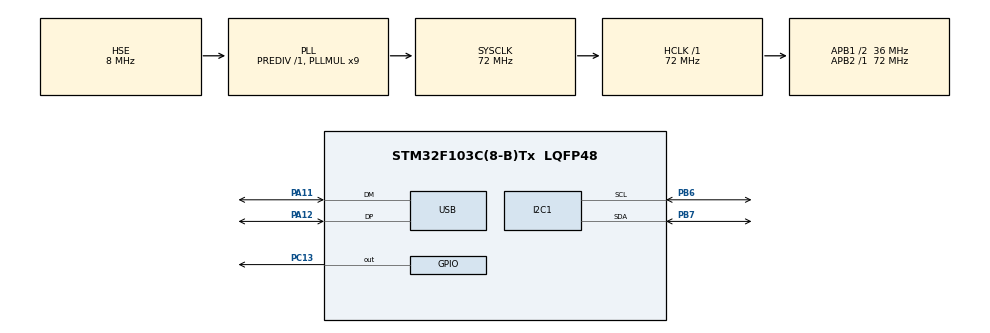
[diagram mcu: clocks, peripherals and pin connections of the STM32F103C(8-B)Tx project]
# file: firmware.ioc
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Dma.I2C1_RX.0.Direction=DMA_PERIPH_TO_MEMORY
Dma.I2C1_RX.0.Instance=DMA1_Channel7
Dma.I2C1_RX.0.MemDataAlignment=DMA_MDATAALIGN_BYTE
Dma.I2C1_RX.0.MemInc=DMA_MINC_ENABLE
Dma.I2C1_RX.0.Mode=DMA_NORMAL
Dma.I2C1_RX.0.PeriphDataAlignment=DMA_PDATAALIGN_BYTE
Dma.I2C1_RX.0.PeriphInc=DMA_PINC_DISABLE
Dma.I2C1_RX.0.Priority=DMA_PRIORITY_LOW
Dma.I2C1_TX.1.Direction=DMA_MEMORY_TO_PERIPH
Dma.I2C1_TX.1.Instance=DMA1_Channel6
Dma.I2C1_TX.1.MemDataAlignment=DMA_MDATAALIGN_BYTE
Dma.I2C1_TX.1.MemInc=DMA_MINC_ENABLE
Dma.I2C1_TX.1.Mode=DMA_NORMAL
Dma.I2C1_TX.1.PeriphDataAlignment=DMA_PDATAALIGN_BYTE
Dma.I2C1_TX.1.PeriphInc=DMA_PINC_DISABLE
Dma.I2C1_TX.1.Priority=DMA_PRIORITY_LOW
Dma.Request0=I2C1_RX
Dma.Request1=I2C1_TX
FREERTOS.BinarySemaphores01=UsbDataAvailable,Dynamic,NULL,Depleted
FREERTOS.Mutexes01=ServoMutex,Dynamic,NULL,Available;RxBufferMutex,Dynamic,NULL,Available
FREERTOS.Queues01=CommandQueue,8,RobotCommand_t,0,Dynamic,NULL,NULL
FREERTOS.Tasks01=defaultTask,24,128,StartDefaultTask,Default,NULL,Dynamic,NULL,NULL;TServoControl,40,256,StartServoControl,As weak,NULL,Dynamic,NULL,NULL;TSafetyMonitor,48,128,StartSafetyMonitor,As weak,NULL,Dynamic,NULL,NULL;TProtocolParser,24,256,StartProtocolParser,As weak,NULL,Dynamic,NULL,NULL
FREERTOS.configCHECK_FOR_STACK_OVERFLOW=1
FREERTOS.configTOTAL_HEAP_SIZE=4096
FREERTOS.configUSE_MALLOC_FAILED_HOOK=1
FREERTOS.configUSE_TRACE_FACILITY=1
I2C1.I2C_Mode=I2C_Fast
Mcu.Family=STM32F1
Mcu.Name=STM32F103C(8-B)Tx
Mcu.Package=LQFP48
NVIC.DMA1_Channel6_IRQn=true\:6\:0\:true\:false\:true\:true\:false\:true\:true
NVIC.DMA1_Channel7_IRQn=true\:6\:0\:true\:false\:true\:true\:false\:true\:true
NVIC.I2C1_ER_IRQn=true\:5\:0\:false\:false\:true\:true\:true\:true\:true
NVIC.I2C1_EV_IRQn=true\:5\:0\:false\:false\:true\:true\:true\:true\:true
NVIC.PriorityGroup=NVIC_PRIORITYGROUP_4
NVIC.TIM2_IRQn=true\:15\:0\:false\:false\:true\:false\:false\:true\:true
NVIC.TimeBase=TIM2_IRQn
NVIC.TimeBaseIP=TIM2
NVIC.USB_LP_CAN1_RX0_IRQn=true\:6\:0\:true\:false\:true\:true\:true\:true\:true
PA11.Mode=Device
PA11.Signal=USB_DM
PA12.Mode=Device
PA12.Signal=USB_DP
PA13.Mode=Trace_Asynchronous_SW
PA13.Signal=SYS_JTMS-SWDIO
PA14.Mode=Trace_Asynchronous_SW
PA14.Signal=SYS_JTCK-SWCLK
PB3.Mode=Trace_Asynchronous_SW
PB3.Signal=SYS_JTDO-TRACESWO
PB6.Mode=I2C
PB6.Signal=I2C1_SCL
PB7.Mode=I2C
PB7.Signal=I2C1_SDA
PC13-TAMPER-RTC.GPIO_PuPd=GPIO_PULLUP
PC13-TAMPER-RTC.Signal=GPIO_Output
PD0-OSC_IN.Mode=HSE-External-Oscillator
PD0-OSC_IN.Signal=RCC_OSC_IN
PD1-OSC_OUT.Mode=HSE-External-Oscillator
PD1-OSC_OUT.Signal=RCC_OSC_OUT
ProjectManager.HeapSize=0x200
ProjectManager.StackSize=0x400
ProjectManager.TargetToolchain=MDK-ARM V5.32
RCC.AHBFreq_Value=72000000
RCC.APB1CLKDivider=RCC_HCLK_DIV2
RCC.APB1Freq_Value=36000000
RCC.APB1TimFreq_Value=72000000
RCC.APB2Freq_Value=72000000
RCC.APB2TimFreq_Value=72000000
RCC.HCLKFreq_Value=72000000
RCC.PLLMUL=RCC_PLL_MUL9
RCC.SYSCLKFreq_VALUE=72000000
RCC.SYSCLKSource=RCC_SYSCLKSOURCE_PLLCLK
RCC.USBFreq_Value=48000000
RCC.USBPrescaler=RCC_USBCLKSOURCE_PLL_DIV1_5
USB_DEVICE.APP_RX_DATA_SIZE=256
USB_DEVICE.APP_TX_DATA_SIZE=256
USB_DEVICE.CLASS_NAME_FS=CDC
USB_DEVICE.VirtualMode=Cdc
USB_DEVICE.VirtualModeFS=Cdc_FS
VP_FREERTOS_VS_CMSIS_V2.Mode=CMSIS_V2
VP_SYS_VS_tim2.Mode=TIM2
VP_USB_DEVICE_VS_USB_DEVICE_CDC_FS.Mode=CDC_FS
board=custom

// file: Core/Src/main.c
/* USER CODE BEGIN Header */
/**
  ******************************************************************************
  * @file           : main.c
  * @brief          : Main program body
  ******************************************************************************
  * @attention
  *
  * Copyright (c) 2025 STMicroelectronics.
  * All rights reserved.
  *
  * This software is licensed under terms that can be found in the LICENSE file
  * in the root directory of this software component.
  * If no LICENSE file comes with this software, it is provided AS-IS.
  *
  ******************************************************************************
  */
/* USER CODE END Header */
#include "main.h"
#include "cmsis_os.h"
#include "dma.h"
#include "i2c.h"
#include "usb_device.h"
#include "gpio.h"

/* USER CODE BEGIN Includes */
#include "pca9685.h"
#include "protocol.h"
/* USER CODE END Includes */

/* USER CODE BEGIN PV */

// PCA9685 handle for servo control
PCA9685_HandleTypeDef hpca9685;

/* USER CODE END PV */

void SystemClock_Config(void);
void MX_FREERTOS_Init(void);

int main(void)
{

  /* MCU Configuration--------------------------------------------------------*/

  /* Reset of all peripherals, Initializes the Flash interface and the Systick. */
  HAL_Init();

  /* Configure the system clock */
  SystemClock_Config();

  /* Initialize all configured peripherals */
  MX_GPIO_Init();
  MX_DMA_Init();
  MX_I2C1_Init();

  /* Init scheduler */
  osKernelInitialize();  /* Call init function for freertos objects (in cmsis_os2.c) */
  MX_FREERTOS_Init();

  /* Start scheduler */
  osKernelStart();

  /* We should never get here as control is now taken by the scheduler */

  /* Infinite loop */
  while (1)
  {

  }
}

void SystemClock_Config(void)
{
  RCC_OscInitTypeDef RCC_OscInitStruct = {0};
  RCC_ClkInitTypeDef RCC_ClkInitStruct = {0};
  RCC_PeriphCLKInitTypeDef PeriphClkInit = {0};

  /** Initializes the RCC Oscillators according to the specified parameters
  * in the RCC_OscInitTypeDef structure.
  */
  RCC_OscInitStruct.OscillatorType = RCC_OSCILLATORTYPE_HSE;
  RCC_OscInitStruct.HSEState = RCC_HSE_ON;
  RCC_OscInitStruct.HSEPredivValue = RCC_HSE_PREDIV_DIV1;
  RCC_OscInitStruct.HSIState = RCC_HSI_ON;
  RCC_OscInitStruct.PLL.PLLState = RCC_PLL_ON;
  RCC_OscInitStruct.PLL.PLLSource = RCC_PLLSOURCE_HSE;
  RCC_OscInitStruct.PLL.PLLMUL = RCC_PLL_MUL9;
  if (HAL_RCC_OscConfig(&RCC_OscInitStruct) != HAL_OK)
  {
    Error_Handler();
  }

  /** Initializes the CPU, AHB and APB buses clocks
  */
  RCC_ClkInitStruct.ClockType = RCC_CLOCKTYPE_HCLK|RCC_CLOCKTYPE_SYSCLK
                              |RCC_CLOCKTYPE_PCLK1|RCC_CLOCKTYPE_PCLK2;
  RCC_ClkInitStruct.SYSCLKSource = RCC_SYSCLKSOURCE_PLLCLK;
  RCC_ClkInitStruct.AHBCLKDivider = RCC_SYSCLK_DIV1;
  RCC_ClkInitStruct.APB1CLKDivider = RCC_HCLK_DIV2;
  RCC_ClkInitStruct.APB2CLKDivider = RCC_HCLK_DIV1;

  if (HAL_RCC_ClockConfig(&RCC_ClkInitStruct, FLASH_LATENCY_2) != HAL_OK)
  {
    Error_Handler();
  }
  PeriphClkInit.PeriphClockSelection = RCC_PERIPHCLK_USB;
  PeriphClkInit.UsbClockSelection = RCC_USBCLKSOURCE_PLL_DIV1_5;
  if (HAL_RCCEx_PeriphCLKConfig(&PeriphClkInit) != HAL_OK)
  {
    Error_Handler();
  }
}

void HAL_TIM_PeriodElapsedCallback(TIM_HandleTypeDef *htim)
{
  if (htim->Instance == TIM2)
  {
    HAL_IncTick();
  }
}

void Error_Handler(void)
{
  __disable_irq();
  while (1)
  {
  }
}

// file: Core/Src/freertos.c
/* USER CODE BEGIN Header */
/**
  ******************************************************************************
  * File Name          : freertos.c
  * Description        : Code for freertos applications
  ******************************************************************************
  * @attention
  *
  * Copyright (c) 2025 STMicroelectronics.
  * All rights reserved.
  *
  * This software is licensed under terms that can be found in the LICENSE file
  * in the root directory of this software component.
  * If no LICENSE file comes with this software, it is provided AS-IS.
  *
  ******************************************************************************
  */
/* USER CODE END Header */

#include "FreeRTOS.h"
#include "task.h"
#include "main.h"
#include "cmsis_os.h"

/* USER CODE BEGIN Includes */
#include "protocol.h"
#include "pca9685.h"
/* USER CODE END Includes */

/* Definitions for defaultTask */
osThreadId_t defaultTaskHandle;
const osThreadAttr_t defaultTask_attributes = {
  .name = "defaultTask",
  .stack_size = 128 * 4,
  .priority = (osPriority_t) osPriorityNormal,
};
/* Definitions for TServoControl */
osThreadId_t TServoControlHandle;
const osThreadAttr_t TServoControl_attributes = {
  .name = "TServoControl",
  .stack_size = 256 * 4,
  .priority = (osPriority_t) osPriorityHigh,
};
/* Definitions for TSafetyMonitor */
osThreadId_t TSafetyMonitorHandle;
const osThreadAttr_t TSafetyMonitor_attributes = {
  .name = "TSafetyMonitor",
  .stack_size = 128 * 4,
  .priority = (osPriority_t) osPriorityRealtime,
};
/* Definitions for TProtocolParser */
osThreadId_t TProtocolParserHandle;
const osThreadAttr_t TProtocolParser_attributes = {
  .name = "TProtocolParser",
  .stack_size = 256 * 4,
  .priority = (osPriority_t) osPriorityNormal,
};
/* Definitions for CommandQueue */
osMessageQueueId_t CommandQueueHandle;
const osMessageQueueAttr_t CommandQueue_attributes = {
  .name = "CommandQueue"
};
/* Definitions for ServoMutex */
osMutexId_t ServoMutexHandle;
const osMutexAttr_t ServoMutex_attributes = {
  .name = "ServoMutex"
};
/* Definitions for RxBufferMutex */
osMutexId_t RxBufferMutexHandle;
const osMutexAttr_t RxBufferMutex_attributes = {
  .name = "RxBufferMutex"
};
/* Definitions for UsbDataAvailable */
osSemaphoreId_t UsbDataAvailableHandle;
const osSemaphoreAttr_t UsbDataAvailable_attributes = {
  .name = "UsbDataAvailable"
};

void StartDefaultTask(void *argument);
void StartServoControl(void *argument);
void StartSafetyMonitor(void *argument);
void StartProtocolParser(void *argument);

extern void MX_USB_DEVICE_Init(void);
void MX_FREERTOS_Init(void); /* (MISRA C 2004 rule 8.1) */

/* Hook prototypes */
void vApplicationStackOverflowHook(xTaskHandle xTask, signed char *pcTaskName);
void vApplicationMallocFailedHook(void);

/* USER CODE BEGIN 4 */
void vApplicationStackOverflowHook(xTaskHandle xTask, signed char *pcTaskName)
{
   /* Run time stack overflow checking is performed if
   configCHECK_FOR_STACK_OVERFLOW is defined to 1 or 2. This hook function is
   called if a stack overflow is detected. */
}
/* USER CODE END 4 */

/* USER CODE BEGIN 5 */
void vApplicationMallocFailedHook(void)
{
   /* vApplicationMallocFailedHook() will only be called if
   configUSE_MALLOC_FAILED_HOOK is set to 1 in FreeRTOSConfig.h. It is a hook
   function that will get called if a call to pvPortMalloc() fails.
   pvPortMalloc() is called internally by the kernel whenever a task, queue,
   timer or semaphore is created. It is also called by various parts of the
   demo application. If heap_1.c or heap_2.c are used, then the size of the
   heap available to pvPortMalloc() is defined by configTOTAL_HEAP_SIZE in
   FreeRTOSConfig.h, and the xPortGetFreeHeapSize() API function can be used
   to query the size of free heap space that remains (although it does not
   provide information on how the remaining heap might be fragmented). */
}
/* USER CODE END 5 */

void MX_FREERTOS_Init(void) {
  /* Create the mutex(es) */
  /* creation of ServoMutex */
  ServoMutexHandle = osMutexNew(&ServoMutex_attributes);

  /* creation of RxBufferMutex */
  RxBufferMutexHandle = osMutexNew(&RxBufferMutex_attributes);

  /* Create the semaphores(s) */
  /* creation of UsbDataAvailable */
  UsbDataAvailableHandle = osSemaphoreNew(1, 0, &UsbDataAvailable_attributes);

  /* Create the queue(s) */
  /* creation of CommandQueue */
  CommandQueueHandle = osMessageQueueNew (8, sizeof(RobotCommand_t), &CommandQueue_attributes);

  /* Create the thread(s) */
  /* creation of defaultTask */
  defaultTaskHandle = osThreadNew(StartDefaultTask, NULL, &defaultTask_attributes);

  /* creation of TServoControl */
  TServoControlHandle = osThreadNew(StartServoControl, NULL, &TServoControl_attributes);

  /* creation of TSafetyMonitor */
  TSafetyMonitorHandle = osThreadNew(StartSafetyMonitor, NULL, &TSafetyMonitor_attributes);

  /* creation of TProtocolParser */
  TProtocolParserHandle = osThreadNew(StartProtocolParser, NULL, &TProtocolParser_attributes);

}

void StartDefaultTask(void *argument)
{
  /* init code for USB_DEVICE */
  MX_USB_DEVICE_Init();
  for(;;)
  {
    osDelay(1);
  }
}

void StartServoControl(void *argument)
{
  /* USER CODE BEGIN StartServoControl */
  extern I2C_HandleTypeDef hi2c1;
  extern PCA9685_HandleTypeDef hpca9685;

  // Initialize PCA9685 PWM driver
  if (PCA9685_Init(&hpca9685, &hi2c1, PCA9685_I2C_ADDRESS) != HAL_OK) {
    Error_Handler();
  }

  // Set all servos to center position initially
  PCA9685_SetServoAngle(&hpca9685, SERVO_CHANNEL_BASE, 90.0f);
  PCA9685_SetServoAngle(&hpca9685, SERVO_CHANNEL_SHOULDER, 90.0f);
  PCA9685_SetServoAngle(&hpca9685, SERVO_CHANNEL_ELBOW, 90.0f);
  osDelay(500);

  /* Infinite loop */
  for(;;)
  {
    RobotCommand_t cmd;
    osStatus_t status = osMessageQueueGet(CommandQueueHandle, &cmd, NULL, 100);

    if (status == osOK) {
      if (osMutexAcquire(ServoMutexHandle, 50) == osOK) {
        // Set servo angles using defined channels
        PCA9685_SetServoAngleRad(&hpca9685, SERVO_CHANNEL_BASE, cmd.angles.base_rad);
        PCA9685_SetServoAngleRad(&hpca9685, SERVO_CHANNEL_SHOULDER, cmd.angles.shoulder_rad);
        PCA9685_SetServoAngleRad(&hpca9685, SERVO_CHANNEL_ELBOW, cmd.angles.elbow_rad);
        osMutexRelease(ServoMutexHandle);
      }
    }
    osDelay(10);
  }
  /* USER CODE END StartServoControl */
}

void StartSafetyMonitor(void *argument)
{
  /* USER CODE BEGIN StartSafetyMonitor */
  static uint32_t last_command_time = 0;
  const uint32_t TIMEOUT_MS = 2000;

  osDelay(200);
  last_command_time = HAL_GetTick();

  for(;;)
  {
    uint32_t current_time = HAL_GetTick();

    if ((current_time - last_command_time) > TIMEOUT_MS) {
      // Safety action: could turn off all servos
      // PCA9685_AllOff(&hpca9685);
    }

    if (osMessageQueueGetCount(CommandQueueHandle) > 0) {
      last_command_time = current_time;
    }

    osDelay(100);
  }
  /* USER CODE END StartSafetyMonitor */
}

__weak void StartProtocolParser(void *argument)
{
  /* USER CODE BEGIN StartProtocolParser */

  // External reference to USB processing function
  extern void USB_ProcessReceivedData(void);

  /* Infinite loop */
  for(;;)
  {
    // Wait for signal from USB ISR that data is available
    if (osSemaphoreAcquire(UsbDataAvailableHandle, osWaitForever) == osOK)
    {
      // Process the received data in task context (not ISR)
      USB_ProcessReceivedData();
    }
  }
  /* USER CODE END StartProtocolParser */
}
